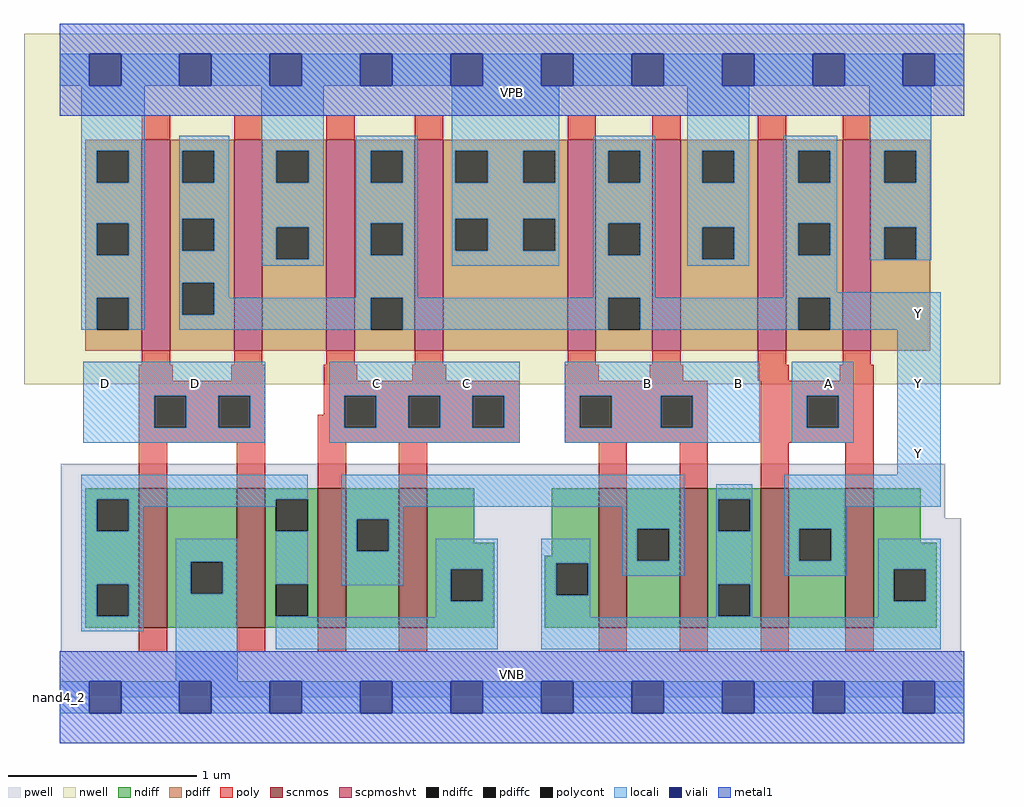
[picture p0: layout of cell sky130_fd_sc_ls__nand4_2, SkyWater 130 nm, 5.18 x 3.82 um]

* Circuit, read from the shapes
.subckt sky130_fd_sc_ls__nand4_2 A B C D VGND VNB VPB VPWR Y
XM1 VGND D n1 VNB sky130_fd_pr__nfet_01v8 w=0.74 l=0.15 m=2
XM2 n2 C n1 VNB sky130_fd_pr__nfet_01v8 w=0.74 l=0.15 m=2
XM3 n2 B n3 VNB sky130_fd_pr__nfet_01v8 w=0.74 l=0.15 m=2
XM4 Y A n3 VNB sky130_fd_pr__nfet_01v8 w=0.74 l=0.15 m=2
XM5 Y D VPWR VPB sky130_fd_pr__pfet_01v8_hvt w=1.12 l=0.15 m=2
XM6 Y C VPWR VPB sky130_fd_pr__pfet_01v8_hvt w=1.12 l=0.15 m=2
XM7 Y B VPWR VPB sky130_fd_pr__pfet_01v8_hvt w=1.12 l=0.15 m=2
XM8 Y A VPWR VPB sky130_fd_pr__pfet_01v8_hvt w=1.12 l=0.15 m=2
.ends

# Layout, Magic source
magic
tech sky130A
magscale 1 2
<< nwell >>
rect -38 332 998 704
<< pwell >>
rect 1 190 940 248
rect 1 49 957 190
rect 0 0 960 49
<< scnmos >>
rect 84 74 114 222
rect 188 74 218 222
rect 274 74 304 222
rect 360 74 390 222
rect 572 74 602 222
rect 658 74 688 222
rect 744 74 774 222
rect 834 74 864 222
<< scpmoshvt >>
rect 87 368 117 592
rect 185 368 215 592
rect 283 368 313 592
rect 377 368 407 592
rect 539 368 569 592
rect 629 368 659 592
rect 741 368 771 592
rect 831 368 861 592
<< ndiff >>
rect 27 210 84 222
rect 27 176 39 210
rect 73 176 84 210
rect 27 120 84 176
rect 27 86 39 120
rect 73 86 84 120
rect 27 74 84 86
rect 114 144 188 222
rect 114 110 139 144
rect 173 110 188 144
rect 114 74 188 110
rect 218 210 274 222
rect 218 176 229 210
rect 263 176 274 210
rect 218 120 274 176
rect 218 86 229 120
rect 263 86 274 120
rect 218 74 274 86
rect 304 189 360 222
rect 304 155 315 189
rect 349 155 360 189
rect 304 74 360 155
rect 390 164 440 222
rect 390 136 461 164
rect 522 150 572 222
rect 390 102 415 136
rect 449 102 461 136
rect 390 74 461 102
rect 515 142 572 150
rect 515 108 527 142
rect 561 108 572 142
rect 515 74 572 108
rect 602 179 658 222
rect 602 145 613 179
rect 647 145 658 179
rect 602 74 658 145
rect 688 210 744 222
rect 688 176 699 210
rect 733 176 744 210
rect 688 120 744 176
rect 688 86 699 120
rect 733 86 744 120
rect 688 74 744 86
rect 774 179 834 222
rect 774 145 785 179
rect 819 145 834 179
rect 774 74 834 145
rect 864 164 914 222
rect 864 136 931 164
rect 864 102 885 136
rect 919 102 931 136
rect 864 74 931 102
<< pdiff >>
rect 27 580 87 592
rect 27 546 39 580
rect 73 546 87 580
rect 27 503 87 546
rect 27 469 39 503
rect 73 469 87 503
rect 27 424 87 469
rect 27 390 39 424
rect 73 390 87 424
rect 27 368 87 390
rect 117 580 185 592
rect 117 546 130 580
rect 164 546 185 580
rect 117 508 185 546
rect 117 474 130 508
rect 164 474 185 508
rect 117 440 185 474
rect 117 406 130 440
rect 164 406 185 440
rect 117 368 185 406
rect 215 580 283 592
rect 215 546 230 580
rect 264 546 283 580
rect 215 499 283 546
rect 215 465 230 499
rect 264 465 283 499
rect 215 368 283 465
rect 313 580 377 592
rect 313 546 330 580
rect 364 546 377 580
rect 313 503 377 546
rect 313 469 330 503
rect 364 469 377 503
rect 313 424 377 469
rect 313 390 330 424
rect 364 390 377 424
rect 313 368 377 390
rect 407 580 539 592
rect 407 546 420 580
rect 454 546 492 580
rect 526 546 539 580
rect 407 508 539 546
rect 407 474 420 508
rect 454 474 492 508
rect 526 474 539 508
rect 407 368 539 474
rect 569 580 629 592
rect 569 546 582 580
rect 616 546 629 580
rect 569 503 629 546
rect 569 469 582 503
rect 616 469 629 503
rect 569 424 629 469
rect 569 390 582 424
rect 616 390 629 424
rect 569 368 629 390
rect 659 580 741 592
rect 659 546 682 580
rect 716 546 741 580
rect 659 499 741 546
rect 659 465 682 499
rect 716 465 741 499
rect 659 368 741 465
rect 771 580 831 592
rect 771 546 784 580
rect 818 546 831 580
rect 771 503 831 546
rect 771 469 784 503
rect 818 469 831 503
rect 771 424 831 469
rect 771 390 784 424
rect 818 390 831 424
rect 771 368 831 390
rect 861 580 924 592
rect 861 546 875 580
rect 909 546 924 580
rect 861 499 924 546
rect 861 465 875 499
rect 909 465 924 499
rect 861 368 924 465
<< ndiffc >>
rect 39 176 73 210
rect 39 86 73 120
rect 139 110 173 144
rect 229 176 263 210
rect 229 86 263 120
rect 315 155 349 189
rect 415 102 449 136
rect 527 108 561 142
rect 613 145 647 179
rect 699 176 733 210
rect 699 86 733 120
rect 785 145 819 179
rect 885 102 919 136
<< pdiffc >>
rect 39 546 73 580
rect 39 469 73 503
rect 39 390 73 424
rect 130 546 164 580
rect 130 474 164 508
rect 130 406 164 440
rect 230 546 264 580
rect 230 465 264 499
rect 330 546 364 580
rect 330 469 364 503
rect 330 390 364 424
rect 420 546 454 580
rect 492 546 526 580
rect 420 474 454 508
rect 492 474 526 508
rect 582 546 616 580
rect 582 469 616 503
rect 582 390 616 424
rect 682 546 716 580
rect 682 465 716 499
rect 784 546 818 580
rect 784 469 818 503
rect 784 390 818 424
rect 875 546 909 580
rect 875 465 909 499
<< poly >>
rect 87 592 117 618
rect 185 592 215 618
rect 283 592 313 618
rect 377 592 407 618
rect 539 592 569 618
rect 629 592 659 618
rect 741 592 771 618
rect 831 592 861 618
rect 87 353 117 368
rect 185 353 215 368
rect 283 353 313 368
rect 377 353 407 368
rect 539 353 569 368
rect 629 353 659 368
rect 741 353 771 368
rect 831 353 861 368
rect 84 336 120 353
rect 182 336 218 353
rect 84 320 218 336
rect 84 286 100 320
rect 134 286 168 320
rect 202 286 218 320
rect 280 336 316 353
rect 374 336 410 353
rect 536 336 572 353
rect 626 336 662 353
rect 741 336 774 353
rect 828 336 864 353
rect 280 320 488 336
rect 280 300 302 320
rect 84 270 218 286
rect 84 222 114 270
rect 188 222 218 270
rect 274 286 302 300
rect 336 286 370 320
rect 404 286 438 320
rect 472 286 488 320
rect 274 270 488 286
rect 536 320 688 336
rect 536 286 552 320
rect 586 286 638 320
rect 672 286 688 320
rect 536 270 688 286
rect 274 222 304 270
rect 360 222 390 270
rect 572 222 602 270
rect 658 222 688 270
rect 744 320 864 336
rect 744 286 793 320
rect 827 286 864 320
rect 744 270 864 286
rect 744 222 774 270
rect 834 222 864 270
rect 84 48 114 74
rect 188 48 218 74
rect 274 48 304 74
rect 360 48 390 74
rect 572 48 602 74
rect 658 48 688 74
rect 744 48 774 74
rect 834 48 864 74
<< polycont >>
rect 100 286 134 320
rect 168 286 202 320
rect 302 286 336 320
rect 370 286 404 320
rect 438 286 472 320
rect 552 286 586 320
rect 638 286 672 320
rect 793 286 827 320
<< locali >>
rect 0 649 31 683
rect 65 649 127 683
rect 161 649 223 683
rect 257 649 319 683
rect 353 649 415 683
rect 449 649 511 683
rect 545 649 607 683
rect 641 649 703 683
rect 737 649 799 683
rect 833 649 895 683
rect 929 649 960 683
rect 23 580 90 649
rect 23 546 39 580
rect 73 546 90 580
rect 23 503 90 546
rect 23 469 39 503
rect 73 469 90 503
rect 23 424 90 469
rect 23 390 39 424
rect 73 390 90 424
rect 127 580 180 596
rect 127 546 130 580
rect 164 546 180 580
rect 127 508 180 546
rect 127 474 130 508
rect 164 474 180 508
rect 127 440 180 474
rect 214 580 280 649
rect 214 546 230 580
rect 264 546 280 580
rect 214 499 280 546
rect 214 465 230 499
rect 264 465 280 499
rect 214 458 280 465
rect 314 580 380 596
rect 314 546 330 580
rect 364 546 380 580
rect 314 503 380 546
rect 314 469 330 503
rect 364 469 380 503
rect 127 406 130 440
rect 164 424 180 440
rect 314 424 380 469
rect 416 580 530 649
rect 416 546 420 580
rect 454 546 492 580
rect 526 546 530 580
rect 416 508 530 546
rect 416 474 420 508
rect 454 474 492 508
rect 526 474 530 508
rect 416 458 530 474
rect 566 580 632 596
rect 566 546 582 580
rect 616 546 632 580
rect 566 503 632 546
rect 566 469 582 503
rect 616 469 632 503
rect 566 424 632 469
rect 666 580 732 649
rect 666 546 682 580
rect 716 546 732 580
rect 666 499 732 546
rect 666 465 682 499
rect 716 465 732 499
rect 666 458 732 465
rect 768 580 825 596
rect 768 546 784 580
rect 818 546 825 580
rect 768 503 825 546
rect 768 469 784 503
rect 818 469 825 503
rect 768 430 825 469
rect 859 580 925 649
rect 859 546 875 580
rect 909 546 925 580
rect 859 499 925 546
rect 859 465 875 499
rect 909 465 925 499
rect 859 464 925 465
rect 768 424 935 430
rect 164 406 330 424
rect 127 390 330 406
rect 364 390 582 424
rect 616 390 784 424
rect 818 390 935 424
rect 25 320 218 356
rect 25 286 100 320
rect 134 286 168 320
rect 202 286 218 320
rect 25 270 218 286
rect 286 320 488 356
rect 286 286 302 320
rect 336 286 370 320
rect 404 286 438 320
rect 472 286 488 320
rect 286 270 488 286
rect 536 320 743 356
rect 536 286 552 320
rect 586 286 638 320
rect 672 286 743 320
rect 536 270 743 286
rect 777 320 843 356
rect 777 286 793 320
rect 827 286 843 320
rect 777 270 843 286
rect 889 236 935 390
rect 23 210 263 236
rect 23 176 39 210
rect 73 202 229 210
rect 73 176 89 202
rect 23 120 89 176
rect 23 86 39 120
rect 73 86 89 120
rect 23 70 89 86
rect 123 144 189 168
rect 123 110 139 144
rect 173 110 189 144
rect 123 17 189 110
rect 229 120 263 176
rect 299 202 663 236
rect 299 189 365 202
rect 299 155 315 189
rect 349 155 365 189
rect 597 179 663 202
rect 299 119 365 155
rect 399 136 465 168
rect 229 85 263 86
rect 399 102 415 136
rect 449 102 465 136
rect 399 85 465 102
rect 229 51 465 85
rect 511 142 563 168
rect 511 108 527 142
rect 561 108 563 142
rect 597 145 613 179
rect 647 145 663 179
rect 597 129 663 145
rect 697 210 735 226
rect 697 176 699 210
rect 733 176 735 210
rect 511 85 563 108
rect 697 120 735 176
rect 769 202 935 236
rect 769 179 835 202
rect 769 145 785 179
rect 819 145 835 179
rect 769 129 835 145
rect 869 136 935 168
rect 697 86 699 120
rect 733 86 735 120
rect 697 85 735 86
rect 869 102 885 136
rect 919 102 935 136
rect 869 85 935 102
rect 511 51 935 85
rect 0 -17 31 17
rect 65 -17 127 17
rect 161 -17 223 17
rect 257 -17 319 17
rect 353 -17 415 17
rect 449 -17 511 17
rect 545 -17 607 17
rect 641 -17 703 17
rect 737 -17 799 17
rect 833 -17 895 17
rect 929 -17 960 17
<< viali >>
rect 31 649 65 683
rect 127 649 161 683
rect 223 649 257 683
rect 319 649 353 683
rect 415 649 449 683
rect 511 649 545 683
rect 607 649 641 683
rect 703 649 737 683
rect 799 649 833 683
rect 895 649 929 683
rect 31 -17 65 17
rect 127 -17 161 17
rect 223 -17 257 17
rect 319 -17 353 17
rect 415 -17 449 17
rect 511 -17 545 17
rect 607 -17 641 17
rect 703 -17 737 17
rect 799 -17 833 17
rect 895 -17 929 17
<< metal1 >>
rect 0 683 960 715
rect 0 649 31 683
rect 65 649 127 683
rect 161 649 223 683
rect 257 649 319 683
rect 353 649 415 683
rect 449 649 511 683
rect 545 649 607 683
rect 641 649 703 683
rect 737 649 799 683
rect 833 649 895 683
rect 929 649 960 683
rect 0 617 960 649
rect 0 17 960 49
rect 0 -17 31 17
rect 65 -17 127 17
rect 161 -17 223 17
rect 257 -17 319 17
rect 353 -17 415 17
rect 449 -17 511 17
rect 545 -17 607 17
rect 641 -17 703 17
rect 737 -17 799 17
rect 833 -17 895 17
rect 929 -17 960 17
rect 0 -49 960 -17
<< labels >>
rlabel comment s 0 0 0 0 4 nand4_2
flabel pwell s 0 0 960 49 0 FreeSans 200 0 0 0 VNB
port 6 nsew ground bidirectional
flabel nwell s 0 617 960 666 0 FreeSans 200 0 0 0 VPB
port 7 nsew power bidirectional
flabel metal1 s 0 617 960 666 0 FreeSans 340 0 0 0 VPWR
port 8 nsew power bidirectional abutment
flabel metal1 s 0 0 960 49 0 FreeSans 340 0 0 0 VGND
port 5 nsew ground bidirectional abutment
flabel locali s 895 242 929 276 0 FreeSans 340 0 0 0 Y
port 9 nsew signal output
flabel locali s 895 316 929 350 0 FreeSans 340 0 0 0 Y
port 9 nsew signal output
flabel locali s 895 390 929 424 0 FreeSans 340 0 0 0 Y
port 9 nsew signal output
flabel locali s 319 316 353 350 0 FreeSans 340 0 0 0 C
port 3 nsew signal input
flabel locali s 415 316 449 350 0 FreeSans 340 0 0 0 C
port 3 nsew signal input
flabel locali s 31 316 65 350 0 FreeSans 340 0 0 0 D
port 4 nsew signal input
flabel locali s 127 316 161 350 0 FreeSans 340 0 0 0 D
port 4 nsew signal input
flabel locali s 607 316 641 350 0 FreeSans 340 0 0 0 B
port 2 nsew signal input
flabel locali s 703 316 737 350 0 FreeSans 340 0 0 0 B
port 2 nsew signal input
flabel locali s 799 316 833 350 0 FreeSans 340 0 0 0 A
port 1 nsew signal input
<< properties >>
string LEFsite unit
string LEFclass CORE
string FIXED_BBOX 0 0 960 666
string GDS_FILE $PDKPATH/libs.ref/sky130_fd_sc_ls/gds/sky130_fd_sc_ls.gds
string LEFsymmetry X Y
string GDS_END 2469060
string GDS_START 2460138
<< end >>
